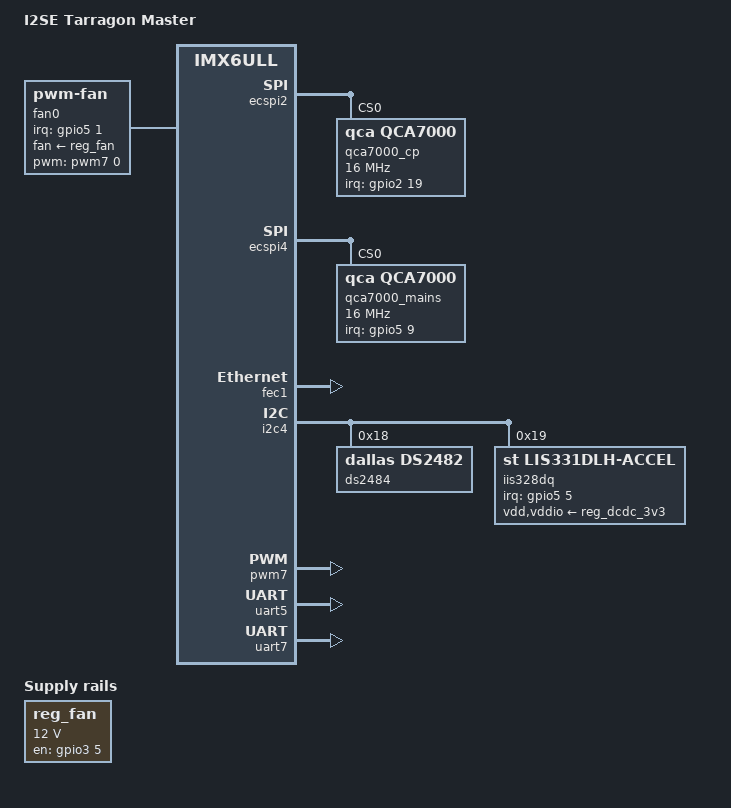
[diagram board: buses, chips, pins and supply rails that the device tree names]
// SPDX-License-Identifier: GPL-2.0
/*
 * Copyright (C) 2018 I2SE GmbH
 * Copyright (C) 2020 in-tech smart charging GmbH
 */

#include "imx6ull-tarragon.dtsi"

/ {
	model = "I2SE Tarragon Master";
	compatible = "i2se,imx6ull-tarragon", "fsl,imx6ull";

	fan0: pwm-fan {
		compatible = "pwm-fan";
		pwms = <&pwm7 0 40000 PWM_POLARITY_INVERTED>;
		interrupt-parent = <&gpio5>;
		interrupts = <1 IRQ_TYPE_EDGE_FALLING>;
		fan-supply = <&reg_fan>;
	};

	reg_fan: regulator {
		compatible = "regulator-fixed";
		regulator-name = "fan-supply";
		regulator-min-microvolt = <12000000>;
		regulator-max-microvolt = <12000000>;
		gpio = <&gpio3 5 GPIO_ACTIVE_HIGH>;
		enable-active-high;
		regulator-boot-on;
	};
};

&ecspi2 {
	status = "okay";

	qca7000_cp: ethernet@0 {
		reg = <0x0>;
		compatible = "qca,qca7000";
		pinctrl-names = "default";
		pinctrl-0 = <&pinctrl_qca7000_cp_int &pinctrl_qca7000_cp_rst &pinctrl_qca7000_cp_btld>;
		interrupt-parent = <&gpio2>;
		interrupts = <19 IRQ_TYPE_EDGE_RISING>;
		spi-cpha;
		spi-cpol;
		spi-max-frequency = <16000000>;
	};
};

&ecspi4 {
	status = "okay";

	qca7000_mains: ethernet@0 {
		reg = <0x0>;
		compatible = "qca,qca7000";
		pinctrl-names = "default";
		pinctrl-0 = <&pinctrl_qca7000_mains_int &pinctrl_qca7000_mains_rst &pinctrl_qca7000_mains_btld>;
		interrupt-parent = <&gpio5>;
		interrupts = <9 IRQ_TYPE_EDGE_RISING>;
		spi-cpha;
		spi-cpol;
		spi-max-frequency = <16000000>;
	};
};

&fec1 {
	status = "okay";
};

&i2c4 {
	ds2484@18 {
		compatible = "dallas,ds2482";
		reg = <0x18>;
	};

	iis328dq@19 {
		compatible = "st,lis331dlh-accel", "st,lis3lv02d";
		reg = <0x19>;
		vdd-supply = <&reg_dcdc_3v3>;
		vddio-supply = <&reg_dcdc_3v3>;
		interrupt-parent = <&gpio5>;
		interrupts = <5 IRQ_TYPE_EDGE_RISING>; // INT1

		st,click-single-x;
		st,click-single-y;
		st,click-single-z;
		st,click-thresh-x = <10>;
		st,click-thresh-y = <10>;
		st,click-thresh-z = <10>;
		st,irq1-click;
		st,wakeup-x-lo;
		st,wakeup-x-hi;
		st,wakeup-y-lo;
		st,wakeup-y-hi;
		st,wakeup-z-lo;
		st,wakeup-z-hi;
		st,min-limit-x = <120>;
		st,min-limit-y = <120>;
		st,min-limit-z = <140>;
		st,max-limit-x = <550>;
		st,max-limit-y = <550>;
		st,max-limit-z = <750>;
	};
};

&pwm7 {
	pinctrl-names = "default";
	pinctrl-0 = <&pinctrl_pwm_fan>;
	status = "okay";
};

&uart5 {
	status = "okay";
};

&uart7 {
	status = "okay";
};
